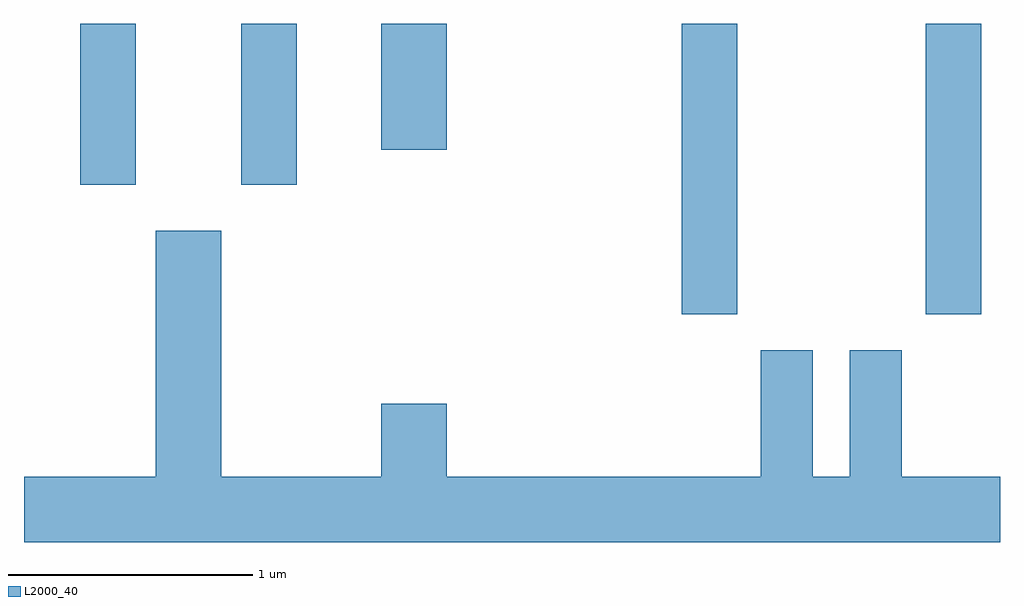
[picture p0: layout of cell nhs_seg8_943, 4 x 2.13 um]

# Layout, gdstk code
import gdstk
lib = gdstk.Library(unit=1e-6, precision=1e-09)
def R(c, l, rs):  # rectangles x0, y0, x1, y1
    for r in rs: c.add(gdstk.rectangle(r[:2], r[2:], *l))
def P(c, l, *ps):  # polygons
    for p in ps: c.add(gdstk.Polygon(p, *l))
L2000_40 = (2000, 40)

nhs_seg8_943 = lib.new_cell('nhs_seg8_943')
R(nhs_seg8_943, L2000_40, [(216.306,1815.151,216.534,1816.342), (217.306,1815.151,217.534,1816.342), (213.841,1815.681,214.069,1816.342), (214.501,1815.681,214.729,1816.342), (215.076,1815.826,215.344,1816.342)])
P(nhs_seg8_943, L2000_40, [(217.611,1814.484),(217.209,1814.484),(217.209,1815.004),(216.996,1815.004),(216.996,1814.484),(216.844,1814.484),(216.844,1815.004),(216.631,1815.004),(216.631,1814.484),(215.344,1814.484),(215.344,1814.784),(215.076,1814.784),(215.076,1814.484),(214.419,1814.484),(214.419,1815.494),(214.151,1815.494),(214.151,1814.484),(213.611,1814.484),(213.611,1814.216),(217.611,1814.216)])

lib.write_gds('nhs_seg8_943.gds')
